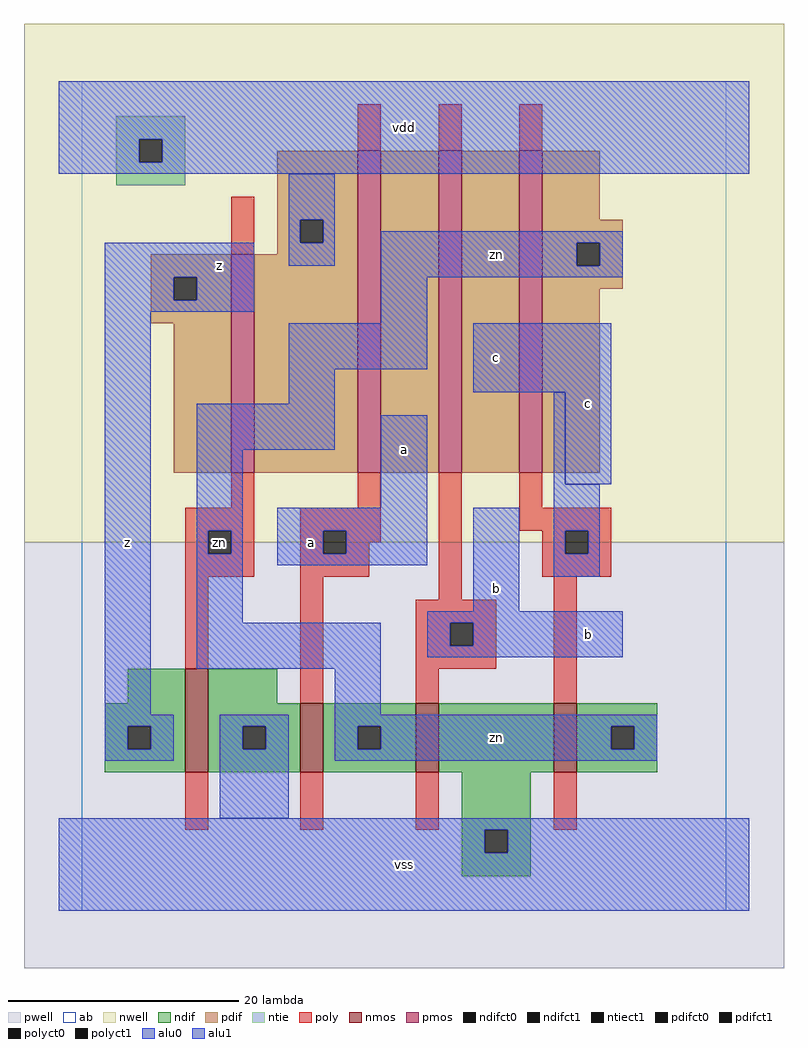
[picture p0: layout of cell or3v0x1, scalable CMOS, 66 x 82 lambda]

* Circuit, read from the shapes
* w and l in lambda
.subckt or3v0x1 a b c vdd vss z zn
M1 vss zn z VSUBS nfet w=9 l=2
M2 zn a vss VSUBS nfet w=6 l=2
M3 vss b zn VSUBS nfet w=6 l=2
M4 zn c vss VSUBS nfet w=6 l=2
M5 vdd zn z vdd pfet w=19 l=2
M6 n1 a vdd vdd pfet w=28 l=2
M7 n2 b n1 vdd pfet w=28 l=2
M8 zn c n2 vdd pfet w=28 l=2
.ends

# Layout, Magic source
magic
tech scmos
<< ab >>
rect 0 0 56 72
<< nwell >>
rect -5 32 61 77
<< pwell >>
rect -5 -5 61 32
<< poly >>
rect 24 66 26 70
rect 31 66 33 70
rect 38 66 40 70
rect 13 57 15 62
rect 13 35 15 38
rect 24 35 26 38
rect 9 33 15 35
rect 9 31 11 33
rect 13 31 15 33
rect 9 29 15 31
rect 19 33 26 35
rect 19 31 21 33
rect 23 32 26 33
rect 23 31 25 32
rect 19 29 25 31
rect 9 21 11 29
rect 19 18 21 29
rect 31 27 33 38
rect 38 35 40 38
rect 38 33 46 35
rect 40 31 42 33
rect 44 31 46 33
rect 40 29 46 31
rect 29 25 36 27
rect 29 23 32 25
rect 34 23 36 25
rect 29 21 36 23
rect 29 18 31 21
rect 41 18 43 29
rect 9 7 11 12
rect 19 7 21 12
rect 29 7 31 12
rect 41 7 43 12
<< ndif >>
rect 4 18 9 21
rect 2 16 9 18
rect 2 14 4 16
rect 6 14 9 16
rect 2 12 9 14
rect 11 18 17 21
rect 11 16 19 18
rect 11 14 14 16
rect 16 14 19 16
rect 11 12 19 14
rect 21 16 29 18
rect 21 14 24 16
rect 26 14 29 16
rect 21 12 29 14
rect 31 12 41 18
rect 43 16 50 18
rect 43 14 46 16
rect 48 14 50 16
rect 43 12 50 14
rect 33 7 39 12
rect 33 5 35 7
rect 37 5 39 7
rect 33 3 39 5
<< pdif >>
rect 17 60 24 66
rect 17 58 19 60
rect 21 58 24 60
rect 17 57 24 58
rect 6 55 13 57
rect 6 53 8 55
rect 10 53 13 55
rect 6 51 13 53
rect 8 38 13 51
rect 15 38 24 57
rect 26 38 31 66
rect 33 38 38 66
rect 40 60 45 66
rect 40 58 47 60
rect 40 56 43 58
rect 45 56 47 58
rect 40 54 47 56
rect 40 38 45 54
<< alu1 >>
rect -2 67 58 72
rect -2 65 5 67
rect 7 65 58 67
rect -2 64 58 65
rect 2 55 15 58
rect 2 53 8 55
rect 10 53 15 55
rect 2 52 15 53
rect 2 17 6 52
rect 34 45 46 51
rect 26 35 30 43
rect 42 37 46 45
rect 17 33 30 35
rect 17 31 21 33
rect 23 31 30 33
rect 17 30 30 31
rect 34 26 38 35
rect 30 25 47 26
rect 30 23 32 25
rect 34 23 47 25
rect 30 22 47 23
rect 2 16 8 17
rect 2 14 4 16
rect 6 14 8 16
rect 2 13 8 14
rect -2 7 58 8
rect -2 5 35 7
rect 37 5 58 7
rect -2 0 58 5
<< ntie >>
rect 3 67 9 69
rect 3 65 5 67
rect 7 65 9 67
rect 3 63 9 65
<< nmos >>
rect 9 12 11 21
rect 19 12 21 18
rect 29 12 31 18
rect 41 12 43 18
<< pmos >>
rect 13 38 15 57
rect 24 38 26 66
rect 31 38 33 66
rect 38 38 40 66
<< polyct0 >>
rect 11 31 13 33
rect 42 31 44 33
<< polyct1 >>
rect 21 31 23 33
rect 32 23 34 25
<< ndifct0 >>
rect 14 14 16 16
rect 24 14 26 16
rect 46 14 48 16
<< ndifct1 >>
rect 4 14 6 16
rect 35 5 37 7
<< ntiect1 >>
rect 5 65 7 67
<< pdifct0 >>
rect 19 58 21 60
rect 43 56 45 58
<< pdifct1 >>
rect 8 53 10 55
<< alu0 >>
rect 18 60 22 64
rect 18 58 19 60
rect 21 58 22 60
rect 18 56 22 58
rect 26 58 47 59
rect 26 56 43 58
rect 45 56 47 58
rect 26 55 47 56
rect 26 51 30 55
rect 18 47 30 51
rect 18 44 22 47
rect 10 40 22 44
rect 10 33 14 40
rect 41 37 42 45
rect 10 31 11 33
rect 13 31 14 33
rect 10 25 14 31
rect 41 33 45 37
rect 41 31 42 33
rect 44 31 45 33
rect 41 29 45 31
rect 10 21 26 25
rect 22 17 26 21
rect 12 16 18 17
rect 12 14 14 16
rect 16 14 18 16
rect 12 8 18 14
rect 22 16 50 17
rect 22 14 24 16
rect 26 14 46 16
rect 48 14 50 16
rect 22 13 50 14
<< labels >>
rlabel polyct0 12 32 12 32 6 zn
rlabel alu0 36 15 36 15 6 zn
rlabel alu0 36 57 36 57 6 zn
rlabel alu1 4 32 4 32 6 z
rlabel alu1 20 32 20 32 6 a
rlabel alu1 12 56 12 56 6 z
rlabel alu1 28 4 28 4 6 vss
rlabel alu1 36 28 36 28 6 b
rlabel alu1 28 40 28 40 6 a
rlabel alu1 36 48 36 48 6 c
rlabel alu1 28 68 28 68 6 vdd
rlabel alu1 44 24 44 24 6 b
rlabel alu1 44 44 44 44 6 c
<< end >>
